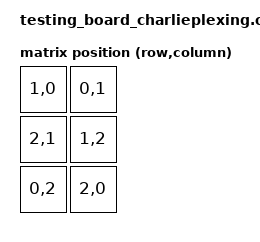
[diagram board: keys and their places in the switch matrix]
#include <dt-bindings/zmk/matrix_transform.h>
#include "testing_board_charlieplexing.dtsi"

/ {
    chosen {
        zmk,kscan = &kscan0;
        zmk,matrix-transform = &default_transform;
    };
    kscan0: kscan {
        compatible = "zmk,kscan-gpio-charlieplex";
        wakeup-source;

        gpios
            = <&xiao_d 1 GPIO_ACTIVE_HIGH> // blue
            , <&xiao_d 2 GPIO_ACTIVE_HIGH> // green
            , <&xiao_d 3 GPIO_ACTIVE_HIGH> // yellow
            ;
    };

    default_transform: keymap_transform0 {
        compatible = "zmk,matrix-transform";
        columns = <3>;
        rows = <3>;
        map = <
        //  [1]     [2]
            RC(1,0) RC(0,1)
        //  [3]     [4]
            RC(2,1) RC(1,2)
        //  [5]     [6]
            RC(0,2) RC(2,0)
        >;
    };
};

//    ┌──────────────────┐
//    │  ┌────────────┐  │
//    │  │ Seeed XIAO │  │
//    │  │  nRF52840  │  │
//    │  └────────────┘  │
//    │                  │
//    │                  │
//    │   [1]      [2]   │
//    │                  │
//    │   [3]      [4]   │
//    │                  │
//    │   [5]      [6]   │
//    │                  │
//    └──────────────────┘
